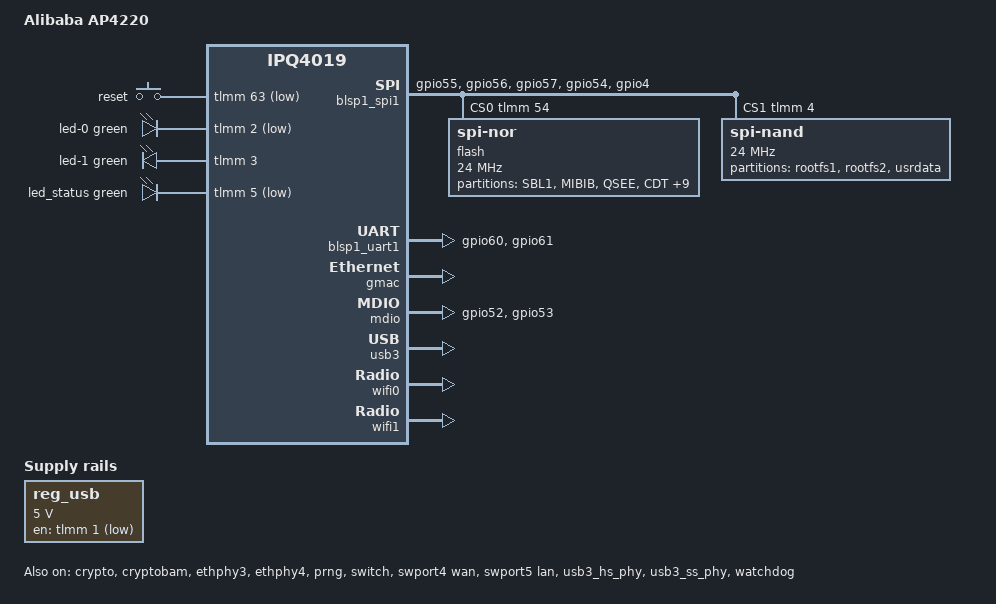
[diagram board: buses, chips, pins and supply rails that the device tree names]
// SPDX-License-Identifier: GPL-2.0-or-later OR MIT

#include "qcom-ipq4019.dtsi"
#include <dt-bindings/gpio/gpio.h>
#include <dt-bindings/input/input.h>
#include <dt-bindings/leds/common.h>
#include <dt-bindings/soc/qcom,tcsr.h>

/ {
	compatible = "alibaba,ap4220", "qcom,ipq4019";
	model = "Alibaba AP4220";

	aliases {
		label-mac-device = &gmac;
		led-boot = &led_status;
		led-failsafe = &led_status;
		led-running = &led_status;
		led-upgrade = &led_status;
	};

	chosen {
		bootargs-append = " root=/dev/ubiblock0_1";
		stdout-path = "serial0:115200n8";
	};

	keys {
		compatible = "gpio-keys";

		button-reset {
			label = "reset";
			gpios = <&tlmm 63 GPIO_ACTIVE_LOW>;
			linux,code = <KEY_RESTART>;
		};
	};

	leds {
		compatible = "gpio-leds";

		led-0 {
			gpios = <&tlmm 2 GPIO_ACTIVE_LOW>;
			linux,default-trigger = "phy1tpt";
			color = <LED_COLOR_ID_GREEN>;
			function = LED_FUNCTION_WLAN_5GHZ;
		};

		led-1 {
			gpios = <&tlmm 3 GPIO_ACTIVE_HIGH>;
			linux,default-trigger = "phy0tpt";
			color = <LED_COLOR_ID_GREEN>;
			function = LED_FUNCTION_WLAN_2GHZ;
		};

		led_status: led-2 {
			function = LED_FUNCTION_POWER;
			color = <LED_COLOR_ID_GREEN>;
			gpios = <&tlmm 5 GPIO_ACTIVE_LOW>;
			default-state = "on";
		};
	};

	reg_usb: regulator-usb {
		compatible = "regulator-fixed";
		enable-active-low;
		gpios = <&tlmm 1 GPIO_ACTIVE_LOW>;

		regulator-max-microvolt = <5000000>;
		regulator-min-microvolt = <5000000>;
		regulator-name = "reg_usb";
	};

	soc {
		tcsr@1949000 {
			compatible = "qcom,tcsr";
			reg = <0x1949000 0x100>;
			qcom,wifi_glb_cfg = <TCSR_WIFI_GLB_CFG>;
		};

		tcsr@194b000 {
			compatible = "qcom,tcsr";
			reg = <0x194b000 0x100>;
			qcom,usb-hsphy-mode-select = <TCSR_USB_HSPHY_HOST_MODE>;
		};

		ess_tcsr@1953000 {
			compatible = "qcom,tcsr";
			reg = <0x1953000 0x1000>;
			qcom,ess-interface-select = <TCSR_ESS_PSGMII>;
		};

		tcsr@1957000 {
			compatible = "qcom,tcsr";
			reg = <0x1957000 0x100>;
			qcom,wifi_noc_memtype_m0_m2 = <TCSR_WIFI_NOC_MEMTYPE_M0_M2>;
		};
	};
};

&blsp_dma {
	status = "okay";
};

&blsp1_spi1 {
	status = "okay";

	num-cs = <2>;
	pinctrl-0 = <&spi0_pins>;
	pinctrl-names = "default";

	cs-gpios = <&tlmm 54 GPIO_ACTIVE_HIGH>, <&tlmm 4 GPIO_ACTIVE_HIGH>;

	flash@0 {
		compatible = "jedec,spi-nor";
		reg = <0>;
		spi-max-frequency = <24000000>;

		partitions {
			compatible = "fixed-partitions";
			#address-cells = <1>;
			#size-cells = <1>;

			partition@0 {
				label = "SBL1";
				reg = <0x0 0x40000>;
				read-only;
			};

			partition@40000 {
				label = "MIBIB";
				reg = <0x40000 0x20000>;
				read-only;
			};

			partition@60000 {
				label = "QSEE";
				reg = <0x60000 0x60000>;
				read-only;
			};

			partition@c0000 {
				label = "CDT";
				reg = <0xc0000 0x10000>;
				read-only;
			};

			partition@d0000 {
				label = "DDRPARAMS";
				reg = <0xd0000 0x10000>;
				read-only;
			};

			partition@e0000 {
				label = "APPSBLENV";
				reg = <0xe0000 0x10000>;
			};

			partition@f0000 {
				label = "APPSBL";
				reg = <0xf0000 0x80000>;
				read-only;
			};

			partition@170000 {
				label = "ART";
				reg = <0x170000 0x10000>;
				read-only;
			};

			partition@180000 {
				label = "product_info";
				reg = <0x180000 0x10000>;
				read-only;
			};

			partition@190000 {
				label = "mtdoops";
				reg = <0x190000 0x20000>;
			};

			partition@1b0000 {
				label = "priv_data1";
				reg = <0x1b0000 0x10000>;
				read-only;
			};

			partition@1c0000 {
				label = "priv_data2";
				reg = <0x1c0000 0x10000>;
				read-only;
			};

			partition@1d0000 {
				label = "priv_data3";
				reg = <0x1d0000 0x200000>;
				read-only;
			};
		};
	};

	spi-nand@1 {
		status = "okay";

		compatible = "spi-nand";
		reg = <1>;
		spi-max-frequency = <24000000>;

		partitions {
			compatible = "fixed-partitions";
			#address-cells = <1>;
			#size-cells = <1>;

			partition@0 {
				label = "rootfs1";
				reg = <0x0 0x3000000>;
			};

			partition@3000000 {
				label = "rootfs2";
				reg = <0x3000000 0x3000000>;
			};

			partition@6000000 {
				label = "usrdata";
				reg = <0x6000000 0x2000000>;
			};
		};
	};
};

&blsp1_uart1 {
	status = "okay";

	pinctrl-0 = <&serial0_pins>;
	pinctrl-names = "default";
};

&crypto {
	status = "okay";
};

&cryptobam {
	status = "okay";
};

&ethphy0 {
	status = "disabled";
};

&ethphy1 {
	status = "disabled";
};

&ethphy2 {
	status = "disabled";
};

&ethphy3 {
	status = "okay";
};

&ethphy4 {
	status = "okay";
};

&gmac {
	status = "okay";
};

&mdio {
	status = "okay";

	pinctrl-0 = <&mdio_pins>;
	pinctrl-names = "default";
};

&prng {
	status = "okay";
};

&switch {
	status = "okay";
};

&swport4 {
	status = "okay";

	label = "wan";
};

&swport5 {
	status = "okay";

	label = "lan";
};

&tlmm {
	mdio_pins: mdio_pinmux {
		mdc {
			pins = "gpio52";
			function = "mdc";
			drive-strength = <4>;
			bias-pull-up;
		};

		mdio {
			pins = "gpio53";
			function = "mdio";
			drive-strength = <4>;
			bias-pull-up;
		};
	};

	serial0_pins: serial0_pinmux {
		blsp_uart0 {
			pins = "gpio60", "gpio61";
			function = "blsp_uart0";
			drive-strength = <8>;
			bias-disable;
		};
	};

	spi0_pins: spi0_pinmux {
		blsp_spi0 {
			pins = "gpio55", "gpio56", "gpio57";
			function = "blsp_spi0";
			drive-strength = <12>;
			bias-disable;
		};

		gpio {
			pins = "gpio54", "gpio4";
			function = "gpio";
			drive-strength = <2>;
			bias-disable;
			output-high;
		};
	};
};

&usb3 {
	status = "okay";
};

&usb3_hs_phy {
	status = "okay";

	phy-supply = <&reg_usb>;
};

&usb3_ss_phy {
	status = "okay";

	phy-supply = <&reg_usb>;
};

&watchdog {
	status = "okay";
};

&wifi0 {
	status = "okay";

	qcom,ath10k-calibration-variant = "Alibaba-AP4220";
};

&wifi1 {
	status = "okay";

	qcom,ath10k-calibration-variant = "Alibaba-AP4220";
};
